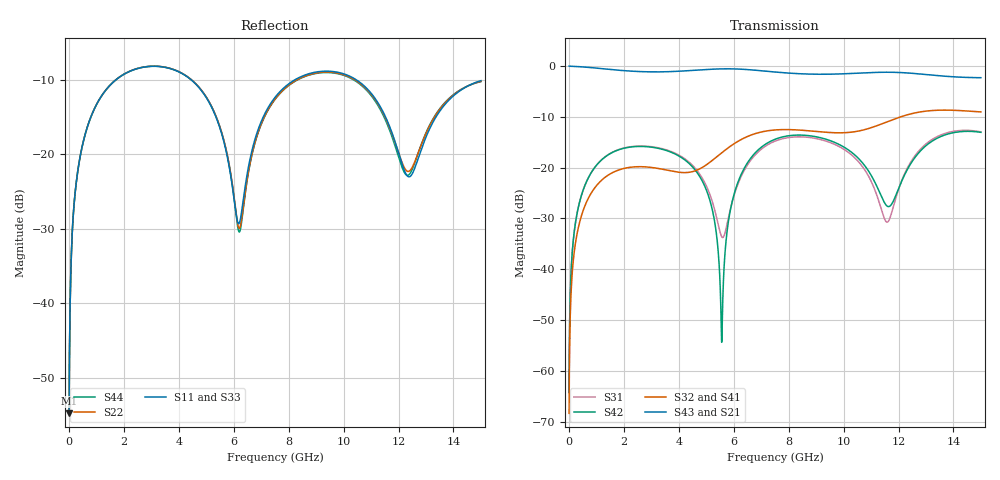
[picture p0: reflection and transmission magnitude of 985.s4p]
! Created with skrf 1.8.0 (http://scikit-rf.org).
# GHz S RI R 50.0
!freq ReS11 ImS11 ReS12 ImS12 ReS13 ImS13
! ReS14 ImS14
! ReS21 ImS21 ReS22 ImS22 ReS23 ImS23
! ReS24 ImS24
! ReS31 ImS31 ReS32 ImS32 ReS33 ImS33
! ReS34 ImS34
! ReS41 ImS41 ReS42 ImS42 ReS43 ImS43
! ReS44 ImS44
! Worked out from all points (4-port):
!   2499 points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, 5 MHz to 15 GHz, reference 50 ohm
!   strongest paths, dB at 5 MHz, 3.476 GHz, 7.19 GHz, 11.1 GHz, 15 GHz:
!     S43: 0.0, -1.1, -1.0, -1.3, -2.3
!     S21: 0.0, -1.1, -1.0, -1.3, -2.3
!     S32: -68.4, -20.4, -12.8, -12.0, -9.0
!     S41: -68.4, -20.4, -12.8, -12.0, -9.1
!     S42: -64.3, -16.5, -15.3, -22.4, -13.0
!     S31: -64.3, -16.4, -15.6, -23.8, -13.0
!   lowest |S11| = -54.8 dB at 5 MHz (marker M1), VSWR 1.00, Z = 50.1 + j0.11 ohm
!   |S11| at or under -10 dB: start of sweep to 1.703 GHz; 4.456 GHz to 8.216 GHz (3.76 GHz wide, 59.3 % of centre); 10.47 GHz to end of sweep
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0.005  0.00145 0.0011  0.9985 -0.00283  7.34e-05 0.000606  -7.11e-05 -0.000375
       0.9985 -0.00283  0.00145 0.0011  -7.11e-05 -0.000375  7.34e-05 0.000606
       7.34e-05 0.000606  -7.11e-05 -0.000375  0.00145 0.0011  0.9985 -0.00283
       -7.11e-05 -0.000375  7.34e-05 0.000606  0.9985 -0.00283  0.00145 0.0011
0.3126303  0.0196 0.073  0.9733 -0.1766  0.00928 0.0364  -0.00763 -0.0224
           0.9733 -0.1766  0.0196 0.073  -0.00764 -0.0224  0.00915 0.0364
           0.00928 0.0364  -0.00764 -0.0224  0.0196 0.073  0.9733 -0.1766
           -0.00763 -0.0224  0.00915 0.0364  0.9733 -0.1766  0.0196 0.073
1.569404  0.2354 0.1871  0.6189 -0.6849  0.1212 0.0726  -0.0871 -0.0178
          0.6189 -0.6849  0.2359 0.1868  -0.0872 -0.0176  0.1192 0.0749
          0.1212 0.0726  -0.0872 -0.0176  0.2353 0.1871  0.619 -0.6849
          -0.0871 -0.0178  0.1192 0.0749  0.619 -0.6849  0.2359 0.1868
5.558566  0.0705 -0.1187  -0.8622 -0.3723  -0.019 -0.00891  -0.0524 0.1296
          -0.8622 -0.3723  0.0691 -0.1225  -0.0502 0.1305  -0.00175 -0.000781
          -0.019 -0.00891  -0.0502 0.1305  0.0718 -0.1179  -0.8621 -0.3725
          -0.0524 0.1296  -0.00175 -0.000781  -0.8621 -0.3725  0.0677 -0.1228
6.609004  0.0591 0.0756  -0.9076 0.1469  0.0357 0.112  0.047 0.2031
          -0.9076 0.1469  0.0552 0.0713  0.0501 0.2024  0.055 0.1101
          0.0357 0.112  0.0501 0.2024  0.0607 0.0745  -0.9078 0.1464
          0.047 0.2031  0.055 0.1101  -0.9078 0.1464  0.0534 0.0716
9.879116  0.344 -0.0795  0.1061 0.8292  0.1308 -0.0906  0.2017 -0.0854
          0.1061 0.8292  0.3401 -0.0746  0.2007 -0.0911  0.1301 -0.1048
          0.1308 -0.0906  0.2007 -0.0911  0.3395 -0.0786  0.1056 0.8308
          0.2017 -0.0854  0.1301 -0.1048  0.1056 0.8308  0.3373 -0.0738
15  0.3081 0.054  0.3564 -0.6797  0.2233 -0.0263  -0.3397 -0.0925
    0.3564 -0.6797  0.3066 0.0402  -0.3445 -0.0811  0.2197 -0.0375
    0.2233 -0.0263  -0.3445 -0.0811  0.3025 0.052  0.3599 -0.6794
    -0.3397 -0.0925  0.2197 -0.0375  0.3599 -0.6794  0.3051 0.0429
